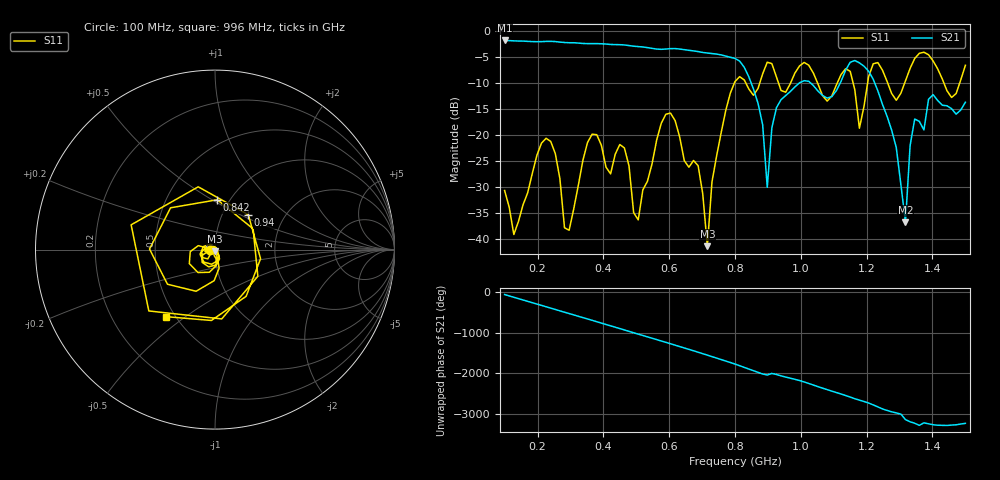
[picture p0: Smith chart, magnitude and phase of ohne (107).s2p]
! NanoVNA-App
! Date: 2025-09-25 14:21:38
! Start: 100MHz Stop: 1,5GHz Points: 101
! S-Parameter data: F S11 S21 S12 S22
# Hz S RI R 50
!  Frequency  S11_Real  S11_Imag  S21_Real  S21_Imag  S12_Real  S12_Imag  S22_Real  S22_Imag
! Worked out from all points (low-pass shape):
!   101 points, 100 MHz to 1.5 GHz, reference 50 ohm
!   highest |S21| = -1.79 dB at 100 MHz (marker M1); lowest = -36.8 dB at 1.318 GHz (marker M2)
!   |S21| within 3 dB of the highest: start of sweep to 771.5 MHz
!   lowest |S11| = -41.3 dB at 716 MHz (marker M3), VSWR 1.02, Z = 49.8 - j0.838 ohm
!   |S11| at or under -10 dB: start of sweep to 798 MHz; 833 MHz to 875.1 MHz (42.06 MHz wide, 4.93 % of centre); 1.051 GHz to 1.111 GHz (59.45 MHz wide, 5.5 % of centre) (the widest 3 of 7)
!   S12 and S22 are empty: the file has one direction only
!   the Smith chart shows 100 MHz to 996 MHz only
!   S11 on the Smith chart (normalised r, x): 100 MHz: 0.94, -0.01; 842 MHz: 0.88, +0.53; 940 MHz: 1.32, +0.55; 996 MHz: 0.45, -0.42
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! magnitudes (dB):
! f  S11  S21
! 100 MHz  -30.6  -1.8
! 128 MHz  -39.1  -1.9
! 226 MHz  -20.6  -2.0
! 296 MHz  -38.3  -2.2
! 338 MHz  -24.8  -2.4
! 464 MHz  -22.5  -2.7
! 506 MHz  -36.3  -3.0
! 576 MHz  -17.7  -3.5
! 688 MHz  -25.9  -3.9
! 716 MHz  -41.3  -4.2
! 800 MHz  -9.7  -5.3
! 842 MHz  -11.1  -8.8
! 898 MHz  -6.0  -30.0
! 940 MHz  -11.4  -13.2
! 996 MHz  -6.7  -9.9
! 1.038 GHz  -8.0  -10.5
! 1.178 GHz  -18.7  -6.1
! 1.22 GHz  -6.3  -9.3
! 1.276 GHz  -12.0  -19.0
! 1.318 GHz  -9.5  -36.8
! 1.346 GHz  -5.3  -16.9
! 1.5 GHz  -6.6  -13.7
